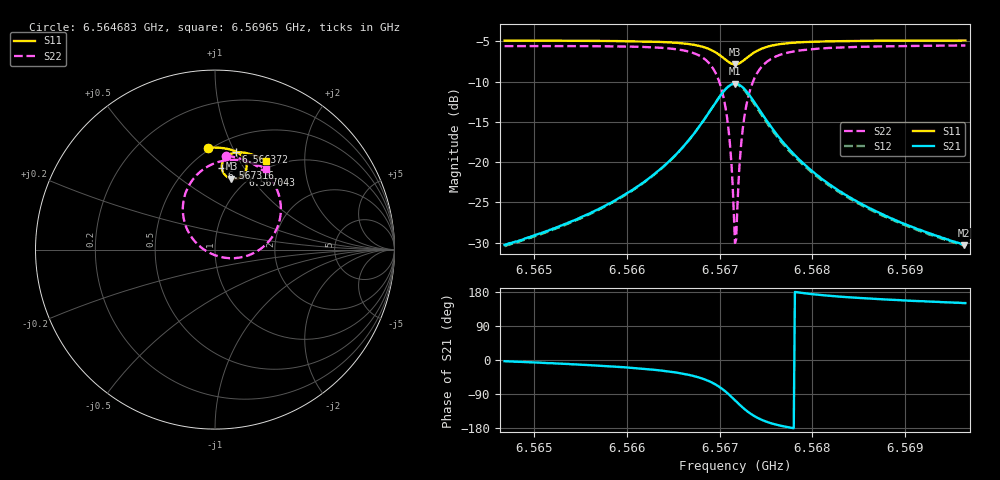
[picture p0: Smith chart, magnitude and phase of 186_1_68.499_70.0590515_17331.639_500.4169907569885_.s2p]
#  HZ  S  RI  R  50.00
! Rohde & Schwarz Vector Network Analyzer
! Rohde-Schwarz,ZNB20-2Port,1311601062101988,3.16
! Created: UTC 3/20/2024, 5:12:02 PM
! freq[Hz]  re:S11  im:S11  re:S21  im:S21  re:S12  im:S12  re:S22  im:S22
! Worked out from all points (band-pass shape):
!   401 points, 6.564683 GHz to 6.56965 GHz, reference 50 ohm
!   highest |S21| = -10.24 dB at 6.567167 GHz (marker M1); lowest = -30.3 dB at 6.569638 GHz (marker M2)
!   |S21| within 3 dB of the highest: 6.56692 GHz to 6.567416 GHz (495.4 kHz wide, 0.00754 % of centre)
!   lowest |S11| = -7.8 dB at 6.567167 GHz (marker M3), VSWR 2.36, Z = 42.6 + j40.2 ohm
!   |S11| at or under -10 dB: nowhere
!   |S22| runs from -30.0 to -5.5 dB; largest |S21 - S12| = 0.015
!   S11 on the Smith chart (normalised r, x): 6.564683 GHz: 0.48, +0.81; 6.566372 GHz: 0.64, +1.01; 6.567043 GHz: 0.91, +0.94; 6.567316 GHz: 0.70, +0.80; 6.56965 GHz: 0.89, +1.31
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6.5646832e9  -0.0376 0.5679  0.0306 -0.00171  0.03 -0.0021  0.0638 0.5224
6.5655152e9  0.0319 0.5667  0.0447 -0.00991  0.0439 -0.0104  0.1464 0.5055
6.5663472e9  0.1131 0.5475  0.0794 -0.0407  0.0782 -0.0416  0.2666 0.4405
6.5663721e9  0.1161 0.5461  0.0811 -0.0429  0.08 -0.0438  0.2715 0.4363
6.5666452e9  0.1497 0.5232  0.1041 -0.0812  0.1025 -0.0829  0.3322 0.3607
6.5668439e9  0.173 0.486  0.1163 -0.1467  0.1133 -0.1498  0.367 0.2346
6.5669557e9  0.1747 0.4492  0.101 -0.211  0.0953 -0.2151  0.3425 0.1121
6.5670426e9  0.1571 0.4149  0.053 -0.2695  0.0432 -0.2725  0.2538 0.0036
6.5671047e9  0.1287 0.3966  -0.00941 -0.2979  -0.0226 -0.2974  0.1377 -0.0446
6.5671544e9  0.0992 0.3934  -0.071 -0.2991  -0.0846 -0.2936  0.027 -0.0398
6.5671668e9  0.0916 0.3947  -0.0864 -0.2953  -0.0997 -0.2886  -8.72e-05 -0.0315
6.5671792e9  0.0842 0.3968  -0.1015 -0.29  -0.1144 -0.2823  -0.0262 -0.0204
6.5671916e9  0.0773 0.3997  -0.1157 -0.2835  -0.128 -0.2746  -0.0508 -0.00683
6.5672289e9  0.0588 0.4125  -0.153 -0.2565  -0.1628 -0.2449  -0.1126 0.0459
6.5672537e9  0.0498 0.4233  -0.1719 -0.2344  -0.1795 -0.2218  -0.1423 0.0876
6.5673158e9  0.0385 0.4534  -0.1978 -0.1752  -0.2002 -0.1627  -0.1776 0.1946
6.5674152e9  0.0449 0.4935  -0.1948 -0.0979  -0.1926 -0.0884  -0.1588 0.3289
6.5675642e9  0.0726 0.5253  -0.1594 -0.0352  -0.156 -0.0302  -0.0831 0.4333
6.5679988e9  0.1409 0.5421  -0.0876 0.00961  -0.0854 0.011  0.0737 0.4989
6.5688308e9  0.2223 0.5238  -0.0424 0.0161  -0.0416 0.0164  0.2059 0.4835
6.569638e9  0.2835 0.4953  -0.0265 0.0152  -0.0261 0.0153  0.2813 0.4509
6.5696504e9  0.2844 0.4948  -0.0266 0.0153  -0.026 0.0153  0.2822 0.4502
